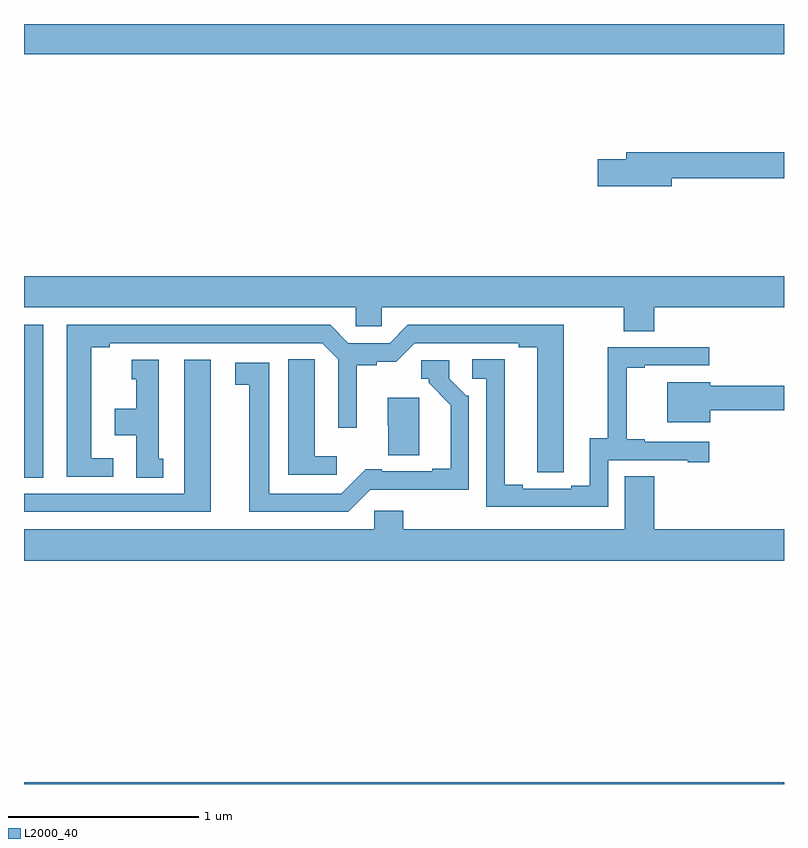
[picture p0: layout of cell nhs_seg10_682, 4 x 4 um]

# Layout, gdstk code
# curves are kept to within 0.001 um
import gdstk
lib = gdstk.Library(unit=1e-6, precision=1e-09)
def R(c, l, rs):  # rectangles x0, y0, x1, y1
    for r in rs: c.add(gdstk.rectangle(r[:2], r[2:], *l))
def P(c, l, *ps):  # polygons
    for p in ps: c.add(gdstk.Polygon(p, *l))
L2000_40 = (2000, 40)

nhs_seg10_682 = lib.new_cell('nhs_seg10_682')
R(nhs_seg10_682, L2000_40, [(145,1272.5,149,1272.508), (145,1274.113,145.102,1274.916), (145,1276.34,149,1276.5)])
P(nhs_seg10_682, L2000_40, [(148.408,1275.688),(149,1275.688),(149,1275.824),(148.169,1275.824),(148.169,1275.788),(148.02,1275.788),(148.02,1275.646),(148.408,1275.646)],
  [(148.316,1275.008),(149,1275.008),(149,1275.172),(145,1275.172),(145,1275.008),(146.745,1275.008),(146.745,1274.91),(146.883,1274.91),(146.883,1275.008),(148.156,1275.008),(148.156,1274.884),(148.316,1274.884)],
  [(145.471,1274.214),(145.354,1274.214),(145.354,1274.8),(145.45,1274.8),(145.45,1274.82),(146.571,1274.82),(146.655,1274.736),(146.655,1274.376),(146.752,1274.376),(146.752,1274.704),(146.856,1274.704),(146.856,1274.723),(146.96,1274.723),(147.057,1274.82),(147.605,1274.82),(147.605,1274.8),(147.701,1274.8),(147.701,1274.14),(147.84,1274.14),(147.841,1274.916),(147.021,1274.916),(146.925,1274.82),(146.707,1274.82),(146.611,1274.916),(145.226,1274.916),(145.226,1274.118),(145.471,1274.118)],
  [(148.074,1274.205),(148.493,1274.205),(148.493,1274.193),(148.606,1274.193),(148.606,1274.301),(148.267,1274.301),(148.267,1274.314),(148.172,1274.314),(148.172,1274.691),(148.267,1274.691),(148.267,1274.703),(148.606,1274.703),(148.606,1274.799),(148.072,1274.799),(148.072,1274.321),(147.977,1274.321),(147.977,1274.07),(147.881,1274.07),(147.881,1274.055),(147.625,1274.055),(147.625,1274.075),(147.529,1274.075),(147.529,1274.735),(147.36,1274.735),(147.36,1274.634),(147.432,1274.634),(147.432,1273.959),(148.074,1273.959)],
  [(146.647,1274.224),(146.53,1274.224),(146.53,1274.627),(146.529,1274.627),(146.529,1274.735),(146.39,1274.735),(146.39,1274.127),(146.647,1274.127)],
  [(145.732,1274.211),(145.708,1274.211),(145.708,1274.734),(145.568,1274.734),(145.568,1274.631),(145.592,1274.631),(145.592,1274.476),(145.478,1274.476),(145.478,1274.336),(145.592,1274.336),(145.592,1274.113),(145.732,1274.113)],
  [(145.984,1274.734),(145.844,1274.734),(145.844,1274.028),(145,1274.028),(145,1273.932),(145.984,1273.932)],
  [(146.823,1274.049),(147.342,1274.048),(147.342,1274.544),(147.327,1274.544),(147.237,1274.634),(147.237,1274.73),(147.09,1274.73),(147.09,1274.634),(147.129,1274.634),(147.129,1274.611),(147.245,1274.494),(147.245,1274.158),(147.149,1274.158),(147.149,1274.145),(146.884,1274.145),(146.884,1274.156),(146.798,1274.156),(146.67,1274.028),(146.29,1274.028),(146.29,1274.718),(146.112,1274.718),(146.112,1274.602),(146.186,1274.602),(146.186,1273.932),(146.706,1273.932)],
  [(148.612,1274.467),(149,1274.467),(149,1274.596),(148.612,1274.596),(148.612,1274.614),(148.385,1274.614),(148.385,1274.405),(148.612,1274.405)],
  [(147.079,1274.533),(146.915,1274.533),(146.915,1274.388),(146.917,1274.388),(146.917,1274.23),(147.079,1274.23)],
  [(149,1273.84),(148.316,1273.84),(148.316,1274.12),(148.163,1274.12),(148.163,1273.84),(146.996,1273.84),(146.996,1273.938),(146.844,1273.938),(146.844,1273.84),(145,1273.84),(145,1273.676),(149,1273.676)])

lib.write_gds('nhs_seg10_682.gds')
